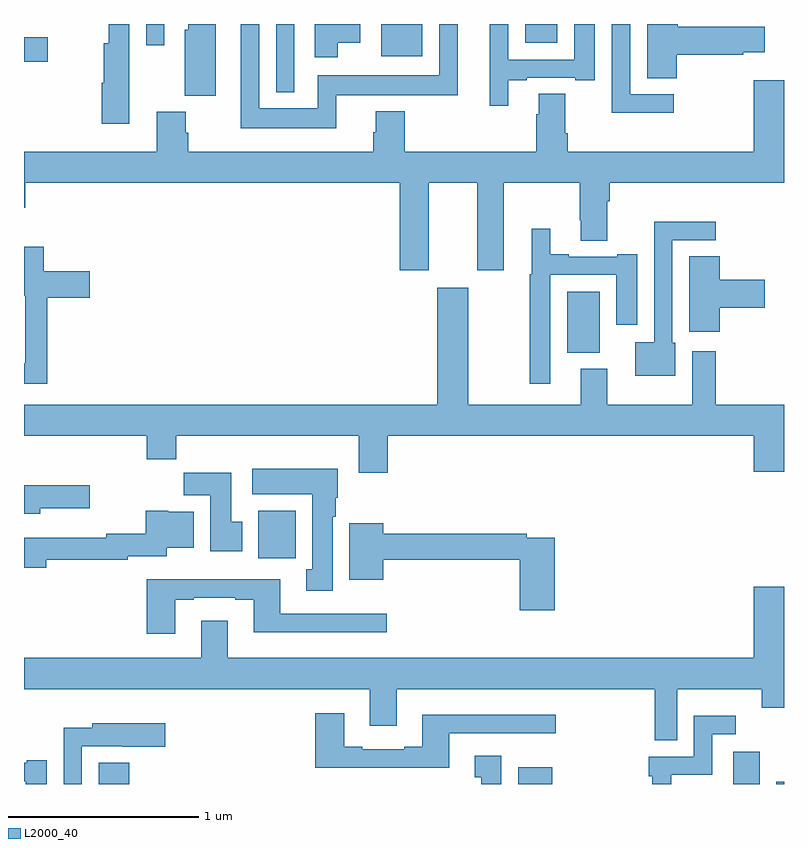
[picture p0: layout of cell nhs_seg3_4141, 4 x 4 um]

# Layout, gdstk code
import gdstk
lib = gdstk.Library(unit=1e-6, precision=1e-09)
def R(c, l, rs):  # rectangles x0, y0, x1, y1
    for r in rs: c.add(gdstk.rectangle(r[:2], r[2:], *l))
def P(c, l, *ps):  # polygons
    for p in ps: c.add(gdstk.Polygon(p, *l))
L2000_40 = (2000, 40)

nhs_seg3_4141 = lib.new_cell('nhs_seg3_4141')
R(nhs_seg3_4141, L2000_40, [(329.393,716.4,329.555,716.512), (331.601,716.4,331.78,716.488), (332.732,716.4,332.872,716.569), (332.96,716.4,333,716.412), (330.233,717.588,330.429,717.838), (331.859,718.67,332.029,718.99), (330.327,720.041,330.423,720.4), (329,720.202,329.125,720.331), (330.881,720.23,331.096,720.4), (329.643,720.288,329.739,720.4), (331.637,720.302,331.807,720.4)])
P(nhs_seg3_4141, L2000_40, [(332.419,720.03),(332.19,720.03),(332.19,720.4),(332.094,720.4),(332.094,719.933),(332.419,719.933)],
  [(331.549,720.105),(331.645,720.105),(331.645,720.117),(331.901,720.117),(331.901,720.105),(332.005,720.105),(332.005,720.4),(331.895,720.4),(331.895,720.213),(331.548,720.213),(331.548,720.4),(331.451,720.4),(331.451,719.97),(331.549,719.97)],
  [(330.01,720.4),(329.864,720.4),(329.864,720.369),(329.846,720.369),(329.846,720.022),(330.01,720.022)],
  [(330.644,720.026),(331.282,720.026),(331.282,720.4),(331.185,720.4),(331.185,720.13),(330.546,720.13),(330.546,719.956),(330.237,719.956),(330.237,720.4),(330.14,720.4),(330.14,719.852),(330.644,719.852)],
  [(330.652,720.302),(330.769,720.302),(330.769,720.4),(330.53,720.4),(330.53,720.225),(330.652,720.225)],
  [(329.554,720.194),(329.553,720.194),(329.553,720.4),(329.445,720.4),(329.445,720.298),(329.42,720.298),(329.42,720.09),(329.408,720.09),(329.408,719.874),(329.554,719.874)],
  [(332.436,720.239),(332.786,720.239),(332.786,720.251),(332.899,720.251),(332.899,720.386),(332.441,720.386),(332.441,720.4),(332.279,720.4),(332.279,720.115),(332.436,720.115)],
  [(331.129,719.564),(331.385,719.564),(331.385,719.103),(331.525,719.103),(331.525,719.564),(331.924,719.564),(331.924,719.368),(331.931,719.368),(331.931,719.26),(332.071,719.26),(332.071,719.468),(332.084,719.468),(332.084,719.564),(333,719.564),(333,720.103),(332.84,720.103),(332.84,719.728),(331.862,719.728),(331.862,719.824),(331.849,719.824),(331.849,720.032),(331.709,720.032),(331.709,719.924),(331.697,719.924),(331.697,719.728),(331.004,719.728),(331.004,719.941),(330.851,719.941),(330.851,719.829),(330.839,719.829),(330.839,719.728),(329.864,719.728),(329.864,719.828),(329.851,719.828),(329.851,719.937),(329.699,719.937),(329.699,719.728),(329,719.728),(329,719.433),(329.006,719.433),(329.006,719.564),(330.977,719.564),(330.977,719.103),(331.129,719.103)],
  [(332.428,718.722),(332.412,718.722),(332.412,719.262),(332.641,719.262),(332.641,719.36),(332.316,719.36),(332.316,718.726),(332.216,718.726),(332.216,718.55),(332.428,718.55)],
  [(331.77,719.079),(332.117,719.079),(332.117,718.818),(332.227,718.818),(332.227,719.188),(332.123,719.188),(332.123,719.175),(331.867,719.175),(331.867,719.188),(331.771,719.188),(331.771,719.323),(331.673,719.323),(331.673,719.082),(331.662,719.082),(331.662,718.506),(331.77,718.506)],
  [(329.123,718.958),(329.347,718.958),(329.347,719.1),(329.104,719.1),(329.104,719.227),(329,719.227),(329,718.97),(329.006,718.97),(329.006,718.615),(329,718.615),(329,718.506),(329.123,718.506)],
  [(332.663,718.907),(332.899,718.907),(332.899,719.054),(332.663,719.054),(332.663,719.177),(332.501,719.177),(332.501,718.779),(332.663,718.779)],
  [(330.914,718.232),(332.84,718.232),(332.84,718.044),(333,718.044),(333,718.396),(332.642,718.396),(332.642,718.678),(332.516,718.678),(332.516,718.396),(332.071,718.396),(332.071,718.585),(331.931,718.585),(331.931,718.396),(331.339,718.396),(331.339,719.011),(331.175,719.011),(331.175,718.396),(329,718.396),(329,718.232),(329.645,718.232),(329.645,718.108),(329.801,718.108),(329.801,718.232),(330.761,718.232),(330.761,718.038),(330.914,718.038)],
  [(330.625,717.806),(330.64,717.806),(330.64,717.906),(330.652,717.906),(330.652,718.06),(330.201,718.06),(330.201,717.926),(330.518,717.926),(330.518,717.529),(330.485,717.529),(330.485,717.417),(330.625,717.417)],
  [(330.148,717.78),(330.091,717.78),(330.091,718.039),(329.842,718.039),(329.842,717.92),(329.981,717.92),(329.981,717.624),(330.148,717.624)],
  [(329.086,717.851),(329.347,717.851),(329.347,717.973),(329,717.973),(329,717.822),(329.086,717.822)],
  [(329.116,717.58),(329.546,717.58),(329.546,717.6),(329.752,717.6),(329.752,717.644),(329.893,717.644),(329.893,717.832),(329.76,717.832),(329.76,717.838),(329.642,717.838),(329.642,717.716),(329.434,717.716),(329.434,717.697),(329,717.697),(329,717.538),(329.116,717.538)],
  [(331.793,717.696),(331.646,717.696),(331.646,717.716),(330.892,717.716),(330.892,717.772),(330.713,717.772),(330.713,717.476),(330.892,717.476),(330.892,717.58),(331.61,717.58),(331.61,717.315),(331.793,717.315)],
  [(329.797,717.369),(329.893,717.369),(329.893,717.381),(330.113,717.381),(330.113,717.369),(330.209,717.369),(330.209,717.2),(330.91,717.2),(330.91,717.297),(330.349,717.297),(330.349,717.478),(329.645,717.478),(329.645,717.192),(329.797,717.192)],
  [(332.437,716.9),(332.884,716.9),(332.884,716.801),(333,716.801),(333,717.439),(332.84,717.439),(332.84,717.064),(330.073,717.064),(330.073,717.259),(329.933,717.259),(329.933,717.064),(329,717.064),(329,716.9),(330.821,716.9),(330.821,716.706),(330.961,716.706),(330.961,716.9),(332.319,716.9),(332.319,716.629),(332.437,716.629)],
  [(331.237,716.667),(331.798,716.667),(331.798,716.764),(331.097,716.764),(331.097,716.596),(331.001,716.596),(331.001,716.583),(330.781,716.583),(330.781,716.596),(330.685,716.596),(330.685,716.773),(330.533,716.773),(330.533,716.486),(331.237,716.486)],
  [(332.407,716.448),(332.622,716.448),(332.622,716.661),(332.746,716.661),(332.746,716.758),(332.526,716.758),(332.526,716.544),(332.289,716.544),(332.289,716.441),(332.306,716.441),(332.306,716.4),(332.407,716.4)],
  [(329.304,716.598),(329.516,716.598),(329.516,716.597),(329.743,716.597),(329.743,716.719),(329.358,716.719),(329.358,716.696),(329.208,716.696),(329.208,716.4),(329.304,716.4)],
  [(331.513,716.548),(331.373,716.548),(331.373,716.435),(331.406,716.435),(331.406,716.4),(331.513,716.4)],
  [(329.119,716.524),(329.015,716.524),(329.015,716.511),(329,716.511),(329,716.415),(329.009,716.415),(329.009,716.4),(329.119,716.4)])

lib.write_gds('nhs_seg3_4141.gds')
